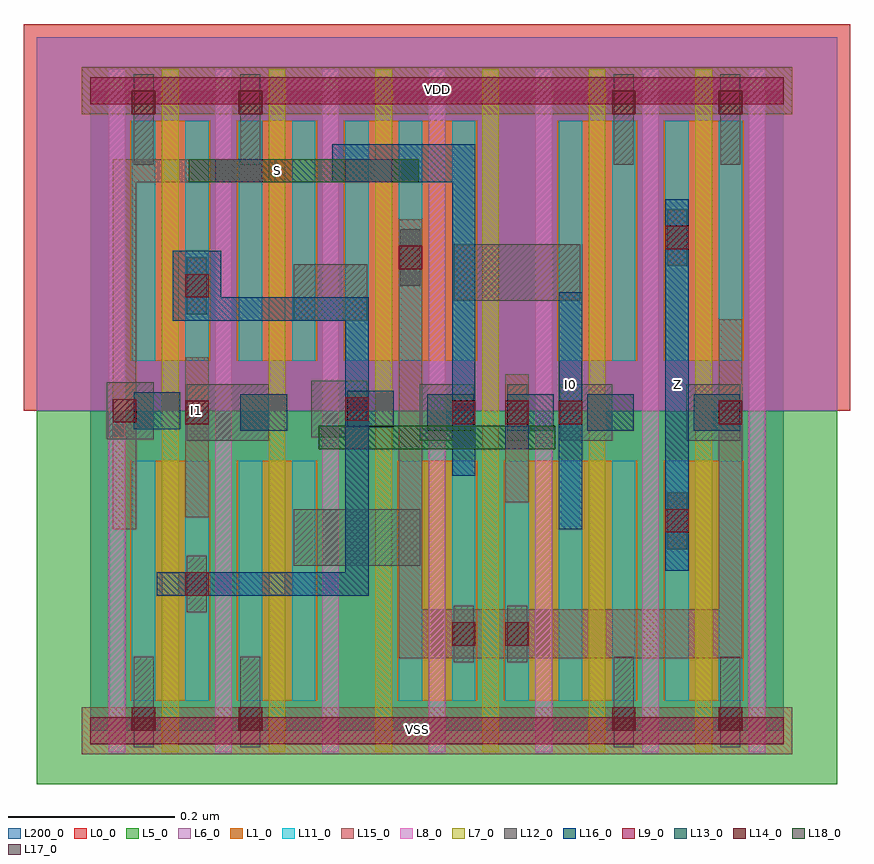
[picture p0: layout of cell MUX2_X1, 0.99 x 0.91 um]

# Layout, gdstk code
import gdstk
lib = gdstk.Library(unit=1e-6, precision=1e-09)
def R(c, l, rs):  # rectangles x0, y0, x1, y1
    for r in rs: c.add(gdstk.rectangle(r[:2], r[2:], *l))
def A(c, l, x, y, w, h, nx, ny, dx, dy):  # array of equal rectangles
    R(c, l, [(x+i*dx, y+j*dy, x+i*dx+w, y+j*dy+h) for i in range(nx) for j in range(ny)])
def P(c, l, *ps):  # polygons
    for p in ps: c.add(gdstk.Polygon(p, *l))
L0_0 = (0, 0)
L1_0 = (1, 0)
L5_0 = (5, 0)
L6_0 = (6, 0)
L7_0 = (7, 0)
L8_0 = (8, 0)
L9_0 = (9, 0)
L11_0 = (11, 0)
L12_0 = (12, 0)
L13_0 = (13, 0)
L14_0 = (14, 0)
L15_0 = (15, 0)
L16_0 = (16, 0)
L17_0 = (17, 0)
L18_0 = (18, 0)
L200_0 = (200, 0)

mux2_x1 = lib.new_cell('MUX2_X1')
R(mux2_x1, L0_0, [(-0.08,0.384,0.912,0.848)])
R(mux2_x1, L1_0, [(0.048,0.036,0.144,0.324), (0.176,0.036,0.272,0.324), (0.368,0.036,0.464,0.324), (0.496,0.036,0.656,0.324), (0.688,0.036,0.784,0.324), (0.048,0.444,0.144,0.732), (0.176,0.444,0.272,0.732), (0.304,0.444,0.464,0.732), (0.56,0.444,0.656,0.732), (0.688,0.444,0.784,0.732)])
R(mux2_x1, L5_0, [(-0.064,-0.064,0.896,0.384)])
R(mux2_x1, L6_0, [(-0.064,0.384,0.896,0.832)])
A(mux2_x1, L7_0, 0.086, -0.026, 0.02, 0.82, 6, 1, 0.128, 0)
A(mux2_x1, L8_0, 0.022, -0.026, 0.02, 0.82, 7, 1, 0.128, 0)
R(mux2_x1, L9_0, [(0,-0.016,0.832,0.016), (0,0.752,0.832,0.784)])
A(mux2_x1, L11_0, 0.05, 0.036, 0.028, 0.288, 4, 1, 0.064, 0)
A(mux2_x1, L11_0, 0.37, 0.036, 0.028, 0.288, 7, 1, 0.064, 0)
A(mux2_x1, L11_0, 0.05, 0.444, 0.028, 0.288, 7, 1, 0.064, 0)
A(mux2_x1, L11_0, 0.562, 0.444, 0.028, 0.288, 4, 1, 0.064, 0)
R(mux2_x1, L12_0, [(0.052,-0.02,0.076,0.089), (0.18,-0.02,0.204,0.089), (0.628,-0.02,0.652,0.089), (0.756,-0.02,0.78,0.089), (0.436,0.082,0.46,0.15), (0.5,0.082,0.524,0.15), (0.116,0.142,0.14,0.21), (0.244,0.198,0.396,0.266), (0.692,0.218,0.716,0.286), (0.116,0.348,0.214,0.416), (0.395,0.348,0.46,0.416), (0.5,0.348,0.524,0.416), (0.564,0.348,0.626,0.416), (0.715,0.348,0.78,0.416), (0.02,0.35,0.076,0.418), (0.265,0.352,0.332,0.42), (0.244,0.492,0.332,0.56), (0.116,0.5,0.14,0.568), (0.436,0.516,0.588,0.584), (0.372,0.534,0.396,0.602), (0.692,0.558,0.716,0.626), (0.052,0.679,0.076,0.788), (0.18,0.679,0.204,0.788), (0.628,0.679,0.652,0.788), (0.756,0.679,0.78,0.788)])
A(mux2_x1, L13_0, 0.404, 0.36, 0.056, 0.044, 3, 1, 0.096, 0)
R(mux2_x1, L13_0, [(0.18,0.36,0.236,0.404), (0.724,0.36,0.78,0.404), (0.052,0.362,0.108,0.406), (0.308,0.364,0.364,0.408)])
A(mux2_x1, L14_0, 0.434, 0.368, 0.028, 0.028, 3, 1, 0.064, 0)
R(mux2_x1, L14_0, [(0.05,0,0.078,0.028), (0.178,0,0.206,0.028), (0.626,0,0.654,0.028), (0.754,0,0.782,0.028), (0.434,0.102,0.462,0.13), (0.498,0.102,0.526,0.13), (0.114,0.162,0.142,0.19), (0.69,0.238,0.718,0.266), (0.114,0.368,0.142,0.396), (0.754,0.368,0.782,0.396), (0.027,0.37,0.055,0.398), (0.306,0.372,0.334,0.4), (0.114,0.52,0.142,0.548), (0.37,0.554,0.398,0.582), (0.69,0.578,0.718,0.606), (0.05,0.74,0.078,0.768), (0.178,0.74,0.206,0.768), (0.626,0.74,0.654,0.768), (0.754,0.74,0.782,0.768)])
R(mux2_x1, L15_0, [(-0.01,-0.028,0.842,0.028), (0.114,0.256,0.142,0.448), (0.498,0.274,0.526,0.428), (-0.01,0.74,0.842,0.796)])
P(mux2_x1, L15_0, [(0.027,0.242),(0.055,0.242),(0.055,0.658),(0.222,0.658),(0.222,0.686),(0.027,0.686)],
  [(0.37,0.087),(0.782,0.087),(0.782,0.494),(0.754,0.494),(0.754,0.146),(0.398,0.146),(0.398,0.614),(0.37,0.614)])
R(mux2_x1, L16_0, [(0.69,0.192,0.718,0.638), (0.562,0.242,0.59,0.526)])
P(mux2_x1, L16_0, [(0.099,0.492),(0.306,0.492),(0.306,0.19),(0.08,0.19),(0.08,0.162),(0.334,0.162),(0.334,0.52),(0.157,0.52),(0.157,0.576),(0.099,0.576)],
  [(0.29,0.658),(0.434,0.658),(0.434,0.306),(0.462,0.306),(0.462,0.704),(0.29,0.704)])
R(mux2_x1, L17_0, [(0.306,0.338,0.334,0.366), (0.498,0.338,0.526,0.366), (0.15,0.658,0.206,0.686), (0.306,0.658,0.362,0.686)])
R(mux2_x1, L18_0, [(0.274,0.338,0.558,0.366), (0.118,0.658,0.394,0.686)])
R(mux2_x1, L200_0, [(0,0,0.832,0.768)])
mux2_x1.add(gdstk.Label('VSS', (0.392,0.001), layer=15, texttype=20))
mux2_x1.add(gdstk.Label('I1', (0.128,0.384), layer=15, texttype=20))
mux2_x1.add(gdstk.Label('VDD', (0.416,0.769), layer=15, texttype=20))
mux2_x1.add(gdstk.Label('I0', (0.576,0.416), layer=16, texttype=20))
mux2_x1.add(gdstk.Label('Z', (0.704,0.416), layer=16, texttype=20))
mux2_x1.add(gdstk.Label('S', (0.224,0.672), layer=18, texttype=20))

lib.write_gds('MUX2_X1.gds')
